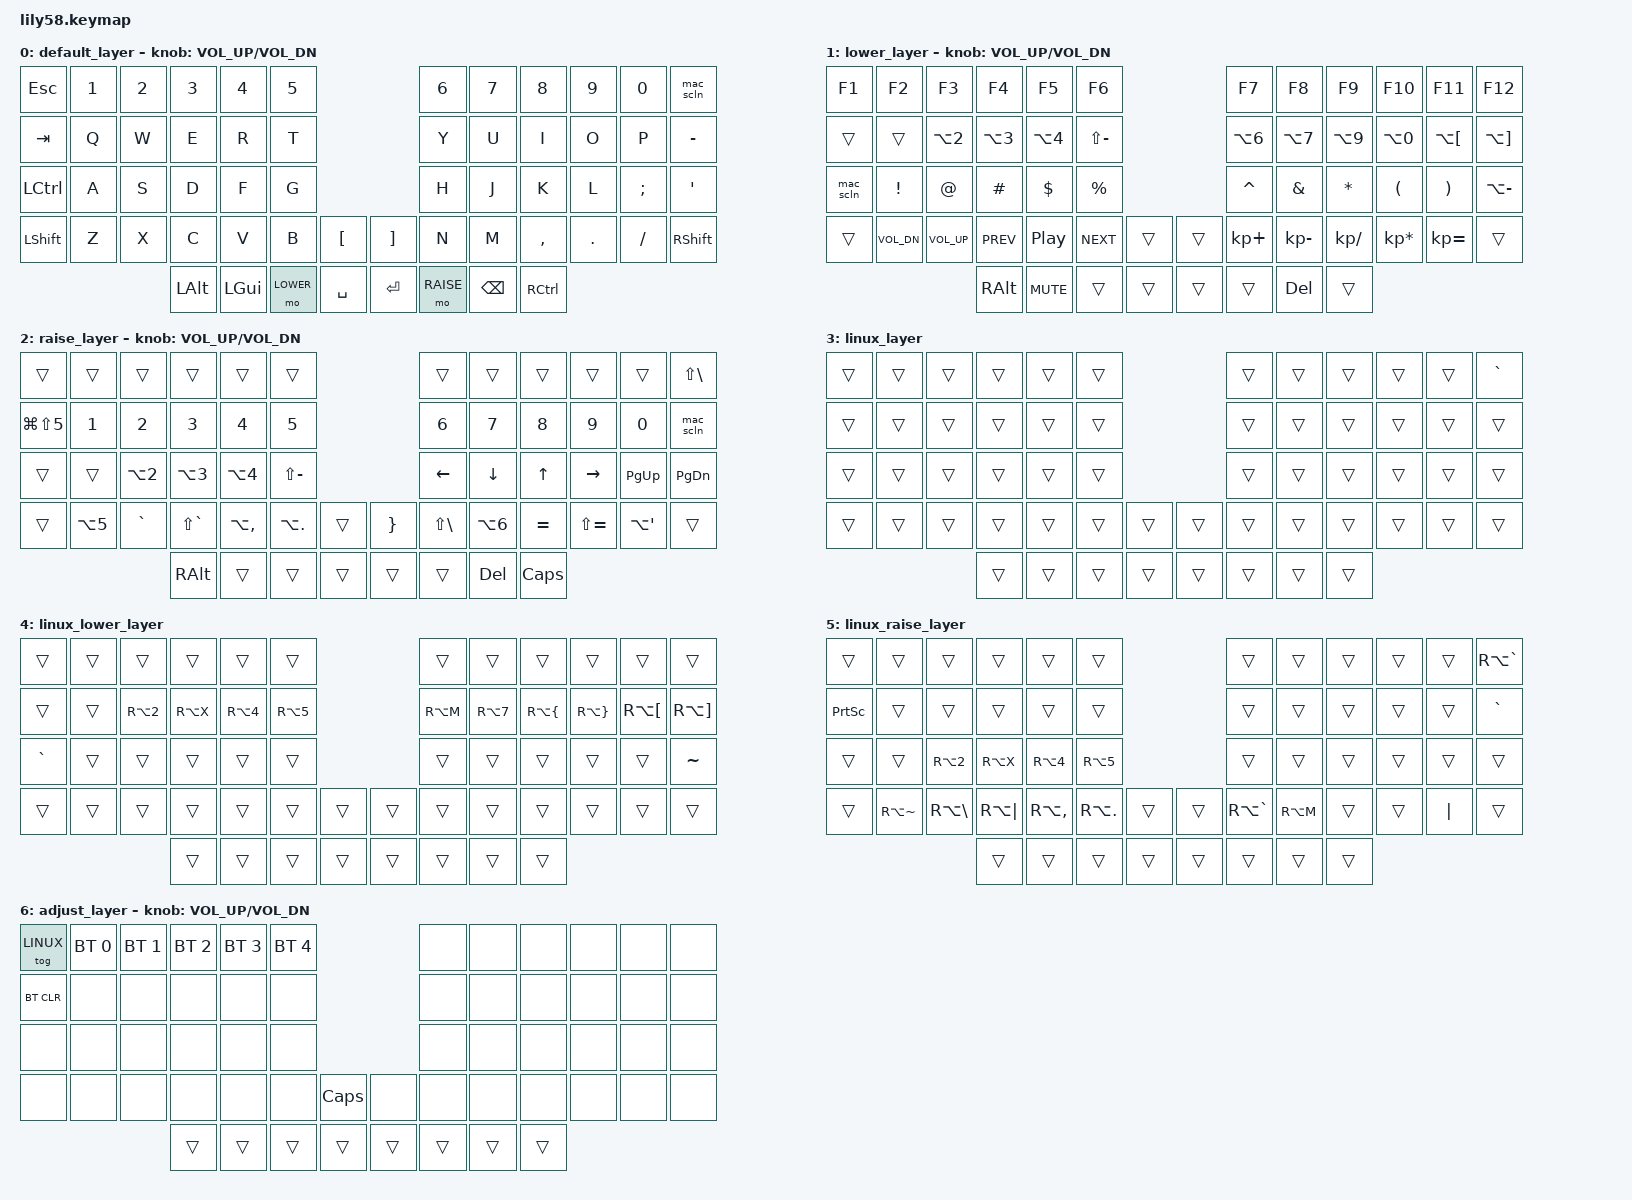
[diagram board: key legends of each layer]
/*
 * Copyright (c) 2020 The ZMK Contributors
 *
 * SPDX-License-Identifier: MIT
 */

#include <behaviors.dtsi>
#include <dt-bindings/zmk/bt.h>
#include <dt-bindings/zmk/keys.h>

// Host OS: macOS "Czech - QWERTY" by default (layers BASE..RAISE). The OS key
// on ADJUST toggles LINUX, which overlays the "Czech (QWERTY)" combos that
// differ, via LINUX_LOWER/LINUX_RAISE. Layer state is not persisted, so every
// reboot (including wake from deep sleep) starts in macOS mode. Modifiers are
// sent unchanged: on macOS, GUI acts as Cmd and Alt as Option. macOS combos are
// taken from QMK's quantum/keymap_extras/keymap_czech_mac_ansi.h.
#define BASE 0
#define LOWER 1
#define RAISE 2
#define LINUX 3
#define LINUX_LOWER 4
#define LINUX_RAISE 5
#define ADJUST 6

/ {
    behaviors {
        // macOS ';'. Shift+; must give the dead degree, which is Option+-
        // without Shift (mod-morph drops the Shift).
        mac_scln: mac_scln {
            compatible = "zmk,behavior-mod-morph";
            #binding-cells = <0>;
            bindings = <&kp LA(SEMI)>, <&kp LA(MINUS)>;
            mods = <(MOD_LSFT|MOD_RSFT)>;
        };
    };

    conditional_layers {
        compatible = "zmk,conditional-layers";

        tri_layer {
            if-layers = <LOWER RAISE>;
            then-layer = <ADJUST>;
        };

        linux_lower {
            if-layers = <LOWER LINUX>;
            then-layer = <LINUX_LOWER>;
        };

        linux_raise {
            if-layers = <RAISE LINUX>;
            then-layer = <LINUX_RAISE>;
        };
    };
};

/ {
    keymap {
        compatible = "zmk,keymap";

        default_layer {
            // ------------------------------------------------------------------------------------------------------------
            // |  ESC  |  1  |  2  |  3   |  4   |  5   |                   |  6   |  7    |  8    |  9   |   0   |  ;/°  |
            // |  TAB  |  Q  |  W  |  E   |  R   |  T   |                   |  Y   |  U    |  I    |  O   |   P   |   -   |
            // |  CTRL |  A  |  S  |  D   |  F   |  G   |                   |  H   |  J    |  K    |  L   |   ;   |   '   |
            // | SHIFT |  Z  |  X  |  C   |  V   |  B   |   "["  |  |  "]"  |  N   |  M    |  ,    |  .   |   /   | SHIFT |
            //                     | ALT  | GUI  | LOWER|  SPACE |  | ENTER | RAISE| BSPC  | GUI   |

            bindings = <
&kp ESC    &kp N1  &kp N2  &kp N3    &kp N4    &kp N5                         &kp N6  &kp N7       &kp N8     &kp N9   &kp N0    &mac_scln
&kp TAB    &kp Q   &kp W   &kp E     &kp R     &kp T                          &kp Y   &kp U        &kp I      &kp O    &kp P     &kp MINUS
&kp LCTRL  &kp A   &kp S   &kp D     &kp F     &kp G                          &kp H   &kp J        &kp K      &kp L    &kp SEMI  &kp SQT
&kp LSHFT  &kp Z   &kp X   &kp C     &kp V     &kp B   &kp LBKT     &kp RBKT  &kp N   &kp M        &kp COMMA  &kp DOT  &kp FSLH  &kp RSHFT
                           &kp LALT  &kp LGUI  &mo LOWER  &kp SPACE    &kp RET   &mo RAISE  &kp BSPC  &kp RCTRL
            >;

            sensor-bindings = <&inc_dec_kp C_VOL_UP C_VOL_DN>;
        };

        lower_layer {
            // ------------------------------------------------------------------------------------------------------------
            // |  F1   |  F2 |  F3 |  F4  |  F5  |  F6  |                   |  F7  |  F8   |  F9   |  F10 |  F11  |  F12  |
            // |       |     |  @  |  #   |  $   |  %   |                   |  ^   |  &    |  {    |  }   |   [   |   ]   |
            // |   ;   |  1  |  2  |  3   |  4   |  5   |                   |  6   |  7    |  8    |  9   |   0   |   °   |
            // |       | VolD| VolU| Prev | Play | Next |        |  |       |  P+  |  P-   |  P/   |  P*  |  P=   |       |
            //                     | RAlt | Mute |      |        |  |       |      |  Del  |       |

            bindings = <
&kp F1     &kp F2        &kp F3           &kp F4      &kp F5            &kp F6                        &kp F7       &kp F8        &kp F9         &kp F10          &kp F11       &kp F12
&trans     &trans        &kp LA(N2)       &kp LA(N3)  &kp LA(N4)        &kp LS(MINUS)                 &kp LA(N6)   &kp LA(N7)    &kp LA(N9)     &kp LA(N0)       &kp LA(LBKT)  &kp LA(RBKT)
&mac_scln  &kp EXCL      &kp AT           &kp HASH    &kp DOLLAR        &kp PRCNT                     &kp CARET    &kp AMPS      &kp ASTERISK   &kp LPAR         &kp RPAR      &kp LA(MINUS)
&trans     &kp C_VOL_DN  &kp C_VOLUME_UP  &kp C_PREV  &kp C_PLAY_PAUSE  &kp C_NEXT  &trans    &trans  &kp KP_PLUS  &kp KP_MINUS  &kp KP_DIVIDE  &kp KP_ASTERISK  &kp KP_EQUAL  &trans
                                          &kp RALT    &kp K_MUTE        &trans      &trans    &trans  &trans       &kp DELETE    &trans
            >;

            sensor-bindings = <&inc_dec_kp C_VOL_UP C_VOL_DN>;
        };

        raise_layer {
            // ------------------------------------------------------------------------------------------------------------
            // |       |     |     |      |      |      |                   |      |       |       |      |       |   `   |
            // | PrtSc |  1  |  2  |  3   |  4   |  5   |                   |  6   |   7   |   8   |  9   |   0   |  ;/°  |
            // |       |     |  @  |  #   |  $   |  %   |                   |  <-  |   v   |   ^   |  ->  | PgUp  | PgDn  |
            // |       |  ~  |  \  |  |   |  <   |  >   |        |  |   (   |  `   |   ^   |   ´   |  ˇ   |   '   |       |
            //                     | RAlt |      |      |        |  |       |      |  Del  | Caps  |
            // PrtSc opens the screenshot UI on macOS (Cmd+Shift+5).
            // \ and | assume the macOS keyboard type is set to ANSI (System Settings >
            // Keyboard > Change Keyboard Type). With ISO, macOS swaps GRAVE and NUBS.

            bindings = <
&trans         &trans         &trans      &trans         &trans         &trans                         &trans          &trans      &trans        &trans         &trans       &kp LS(BSLH)
&kp LG(LS(N5)) &kp N1         &kp N2      &kp N3         &kp N4         &kp N5                         &kp N6          &kp N7      &kp N8        &kp N9         &kp N0       &mac_scln
&trans         &trans         &kp LA(N2)  &kp LA(N3)     &kp LA(N4)     &kp LS(MINUS)                  &kp LEFT_ARROW  &kp DOWN    &kp UP_ARROW  &kp RIGHT      &kp PAGE_UP  &kp PAGE_DOWN
&trans         &kp LA(N5)     &kp GRAVE   &kp LS(GRAVE)  &kp LA(COMMA)  &kp LA(DOT)  &trans  &kp RBRC  &kp LS(BSLH)    &kp LA(N6)  &kp EQUAL     &kp LS(EQUAL)  &kp LA(SQT)  &trans
                                          &kp RALT       &trans         &trans       &trans  &trans    &trans          &kp DEL     &kp CAPS
            >;

            sensor-bindings = <&inc_dec_kp C_VOL_UP C_VOL_DN>;
        };

        linux_layer {
            // Linux "Czech (QWERTY)" overrides of default_layer.
            bindings = <
&trans  &trans  &trans  &trans  &trans  &trans                  &trans  &trans  &trans  &trans  &trans  &kp GRAVE
&trans  &trans  &trans  &trans  &trans  &trans                  &trans  &trans  &trans  &trans  &trans  &trans
&trans  &trans  &trans  &trans  &trans  &trans                  &trans  &trans  &trans  &trans  &trans  &trans
&trans  &trans  &trans  &trans  &trans  &trans  &trans  &trans  &trans  &trans  &trans  &trans  &trans  &trans
                        &trans  &trans  &trans  &trans  &trans  &trans  &trans  &trans
            >;
        };

        linux_lower_layer {
            // Linux "Czech (QWERTY)" overrides of lower_layer.
            bindings = <
&trans     &trans  &trans      &trans      &trans      &trans                      &trans      &trans      &trans        &trans        &trans                &trans
&trans     &trans  &kp RA(N2)  &kp RA(X)   &kp RA(N4)  &kp RA(N5)                  &kp RA(M)   &kp RA(N7)  &kp RA(LBRC)  &kp RA(RBRC)  &kp RA(LEFT_BRACKET)  &kp RA(RIGHT_BRACKET)
&kp GRAVE  &trans  &trans      &trans      &trans      &trans                      &trans      &trans      &trans        &trans        &trans                &kp TILDE
&trans     &trans  &trans      &trans      &trans      &trans      &trans  &trans  &trans      &trans      &trans        &trans        &trans                &trans
                               &trans      &trans      &trans      &trans  &trans  &trans      &trans      &trans
            >;
        };

        linux_raise_layer {
            // Linux "Czech (QWERTY)" overrides of raise_layer.
            bindings = <
&trans           &trans         &trans        &trans        &trans         &trans                         &trans         &trans     &trans  &trans  &trans    &kp RA(GRAVE)
&kp PRINTSCREEN  &trans         &trans        &trans        &trans         &trans                         &trans         &trans     &trans  &trans  &trans    &kp GRAVE
&trans           &trans         &kp RA(N2)    &kp RA(X)     &kp RA(N4)     &kp RA(N5)                     &trans         &trans     &trans  &trans  &trans    &trans
&trans           &kp RA(TILDE)  &kp RA(BSLH)  &kp RA(PIPE)  &kp RA(COMMA)  &kp RA(DOT)  &trans  &trans    &kp RA(GRAVE)  &kp RA(M)  &trans  &trans  &kp PIPE  &trans
                                              &trans        &trans         &trans       &trans  &trans    &trans         &trans     &trans
            >;
        };

        adjust_layer {
            // ------------------------------------------------------------------------------------------------------------
            // |  OS   | BT1 | BT2 |  BT3 |  BT4 |  BT5 |                   |      |       |       |      |       |       |
            // | BTCLR |     |     |      |      |      |                   |      |       |       |      |       |       |
            // |       |     |     |      |      |      |                   |      |       |       |      |       |       |
            // |       |     |     |      |      |      |  Caps  |  |       |      |       |       |      |       |       |
            //                     |      |      |      |        |  |       |      |       |       |
            // OS: toggle macOS (default) <-> Linux; resets to macOS on reboot/wake

            bindings = <
&tog LINUX  &bt BT_SEL 0  &bt BT_SEL 1  &bt BT_SEL 2  &bt BT_SEL 3  &bt BT_SEL 4                     &none   &none   &none   &none   &none   &none
&bt BT_CLR  &none         &none         &none         &none         &none                            &none   &none   &none   &none   &none   &none
&none       &none         &none         &none         &none         &none                            &none   &none   &none   &none   &none   &none
&none       &none         &none         &none         &none         &none        &kp CAPS    &none   &none   &none   &none   &none   &none   &none
                                        &trans        &trans        &trans       &trans      &trans  &trans  &trans  &trans
            >;

            sensor-bindings = <&inc_dec_kp C_VOL_UP C_VOL_DN>;
        };
    };
};
